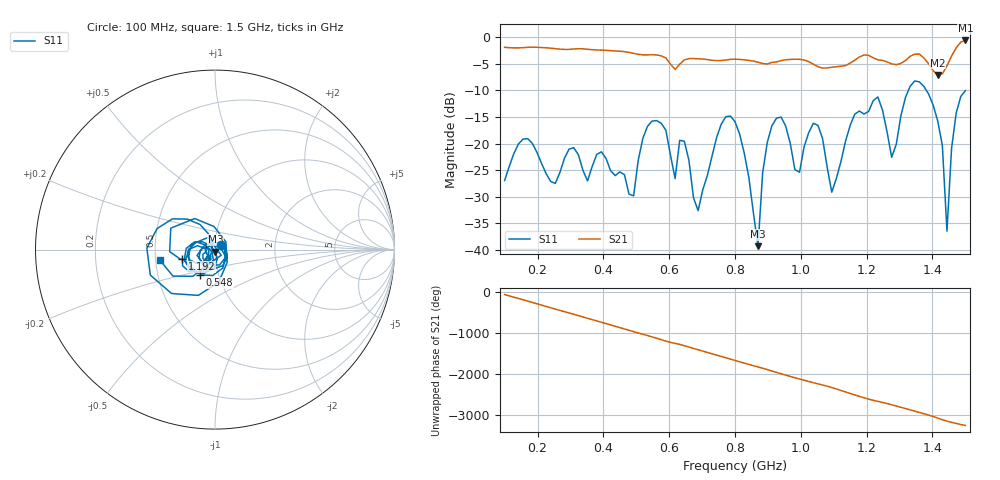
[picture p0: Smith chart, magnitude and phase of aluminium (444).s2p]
! NanoVNA-App
! Date: 2025-09-25 14:58:44
! Start: 100MHz Stop: 1,5GHz Points: 101
! S-Parameter data: F S11 S21 S12 S22
# Hz S RI R 50
!  Frequency  S11_Real  S11_Imag  S21_Real  S21_Imag  S12_Real  S12_Imag  S22_Real  S22_Imag
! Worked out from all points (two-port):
!   101 points, 100 MHz to 1.5 GHz, reference 50 ohm
!   highest |S21| = -0.63 dB at 1.5 GHz (marker M1); lowest = -7.1 dB at 1.416 GHz (marker M2)
!   |S21| within 3 dB of the highest: start of sweep to 579.6 MHz; 1.457 GHz to end of sweep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
!   lowest |S11| = -39.3 dB at 870 MHz (marker M3), VSWR 1.02, Z = 50.2 - j1.07 ohm
!   |S11| at or under -10 dB: start of sweep to 1.327 GHz; 1.381 GHz to end of sweep
!   S12 and S22 are empty: the file has one direction only
!   S11 on the Smith chart (normalised r, x): 100 MHz: 1.07, +0.06; 548 MHz: 0.82, -0.24; 1.192 GHz: 0.69, -0.07; 1.5 GHz: 0.53, -0.07
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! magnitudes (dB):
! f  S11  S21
! 100 MHz  -27.0  -1.9
! 156 MHz  -19.2  -2.0
! 338 MHz  -25.0  -2.2
! 492 MHz  -29.8  -3.1
! 548 MHz  -15.8  -3.3
! 576 MHz  -16.2  -3.5
! 646 MHz  -19.6  -4.3
! 688 MHz  -32.6  -4.1
! 800 MHz  -15.9  -4.1
! 870 MHz  -39.3  -4.7
! 912 MHz  -16.7  -4.7
! 996 MHz  -25.4  -4.2
! 1.038 GHz  -16.2  -5.1
! 1.094 GHz  -29.1  -5.7
! 1.192 GHz  -14.5  -3.4
! 1.234 GHz  -11.2  -4.3
! 1.276 GHz  -22.6  -5.0
! 1.346 GHz  -8.2  -3.2
! 1.416 GHz  -15.8  -7.1
! 1.444 GHz  -36.5  -5.4
! 1.458 GHz  -20.9  -3.6
! 1.5 GHz  -10.1  -0.6
